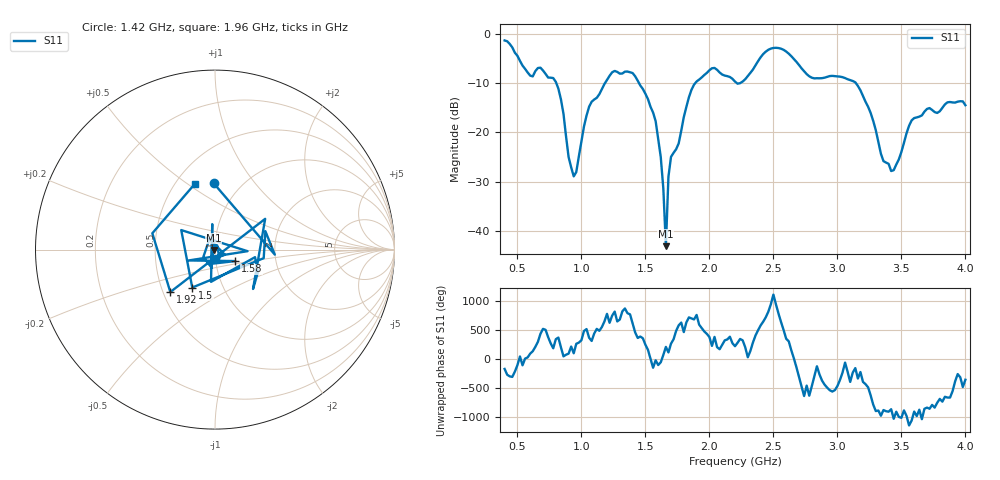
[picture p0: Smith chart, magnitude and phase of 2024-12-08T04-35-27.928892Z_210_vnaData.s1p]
!Created with skrf (http://scikit-rf.org).
# Hz S RI R 50.0
!freq ReS11 ImS11
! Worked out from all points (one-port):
!   181 points, 400 MHz to 4 GHz, reference 50 ohm
!   lowest |S11| = -43.1 dB at 1.66 GHz (marker M1), VSWR 1.01, Z = 49.4 - j0.249 ohm
!   |S11| at or under -10 dB: 803.6 MHz to 1.184 GHz (380.9 MHz wide, 38.3 % of centre); 1.45 GHz to 1.89 GHz (440.1 MHz wide, 26.4 % of centre); 3.144 GHz to end of sweep (the widest 3 of 4)
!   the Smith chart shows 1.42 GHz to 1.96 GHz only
!   S11 on the Smith chart (normalised r, x): 1.42 GHz: 0.75, +0.64; 1.5 GHz: 0.71, -0.32; 1.58 GHz: 1.24, -0.16; 1.92 GHz: 0.55, -0.29; 1.96 GHz: 0.62, +0.53
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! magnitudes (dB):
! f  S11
! 400 MHz  -1.3
! 600 MHz  -8.5
! 780 MHz  -9.0
! 860 MHz  -16.2
! 900 MHz  -25.0
! 940 MHz  -28.9
! 1.06 GHz  -14.8
! 1.3 GHz  -8.1
! 1.42 GHz  -8.6
! 1.5 GHz  -12.2
! 1.58 GHz  -17.7
! 1.62 GHz  -25.0
! 1.64 GHz  -31.4
! 1.66 GHz  -43.1
! 1.68 GHz  -29.0
! 1.76 GHz  -22.3
! 1.84 GHz  -12.9
! 1.92 GHz  -9.3
! 1.96 GHz  -8.4
! 2.2 GHz  -9.7
! 2.48 GHz  -3.0
! 2.66 GHz  -5.1
! 2.8 GHz  -8.9
! 3.1 GHz  -9.4
! 3.24 GHz  -14.8
! 3.42 GHz  -27.9
! 3.56 GHz  -18.7
! 4 GHz  -14.5
